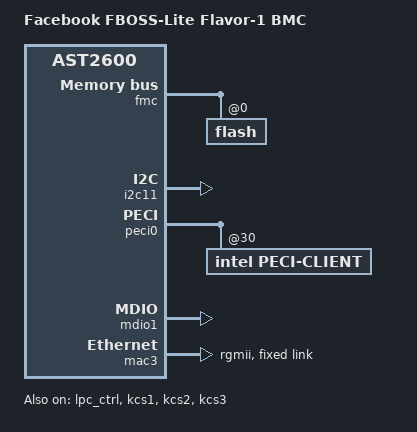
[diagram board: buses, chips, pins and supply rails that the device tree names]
// SPDX-License-Identifier: GPL-2.0+
// Copyright (c) Meta Platforms, Inc. and affiliates.

/dts-v1/;

#include "ast2600-facebook-netbmc-common.dtsi"

/ {
	model = "Facebook FBOSS-Lite Flavor-1 BMC";
	compatible = "facebook,fblite-r1-bmc", "aspeed,ast2600";

	chosen {
		stdout-path = &uart1;
	};

	spi_gpio: spi {
		num-chipselects = <1>;
		cs-gpios = <&gpio0 ASPEED_GPIO(X, 0) GPIO_ACTIVE_LOW>;
	};
};

&fmc {
	flash@0 {
		/delete-node/partitions;
#include "facebook-bmc-flash-layout-128-data64.dtsi"
	};
};

&i2c11 {
	status = "okay";
};

&lpc_ctrl {
	status = "okay";
	flash = <&spi1>;
};

&kcs1 {
	status = "okay";
	aspeed,lpc-io-reg = <0xca0>;
};

&kcs2 {
	status = "okay";
	aspeed,lpc-io-reg = <0xca8>;
};

&kcs3 {
	status = "okay";
	aspeed,lpc-io-reg = <0xca2>;
};

&peci0 {
	status = "okay";

	peci-client@30 {
		compatible = "intel,peci-client";
		reg = <0x30>;
	};
};

&mdio1 {
	status = "okay";
};

&mac3 {
	status = "okay";
	phy-mode = "rgmii";
	pinctrl-names = "default";
	pinctrl-0 = <&pinctrl_rgmii4_default>;
	fixed-link {
		speed = <1000>;
		full-duplex;
	};
};
